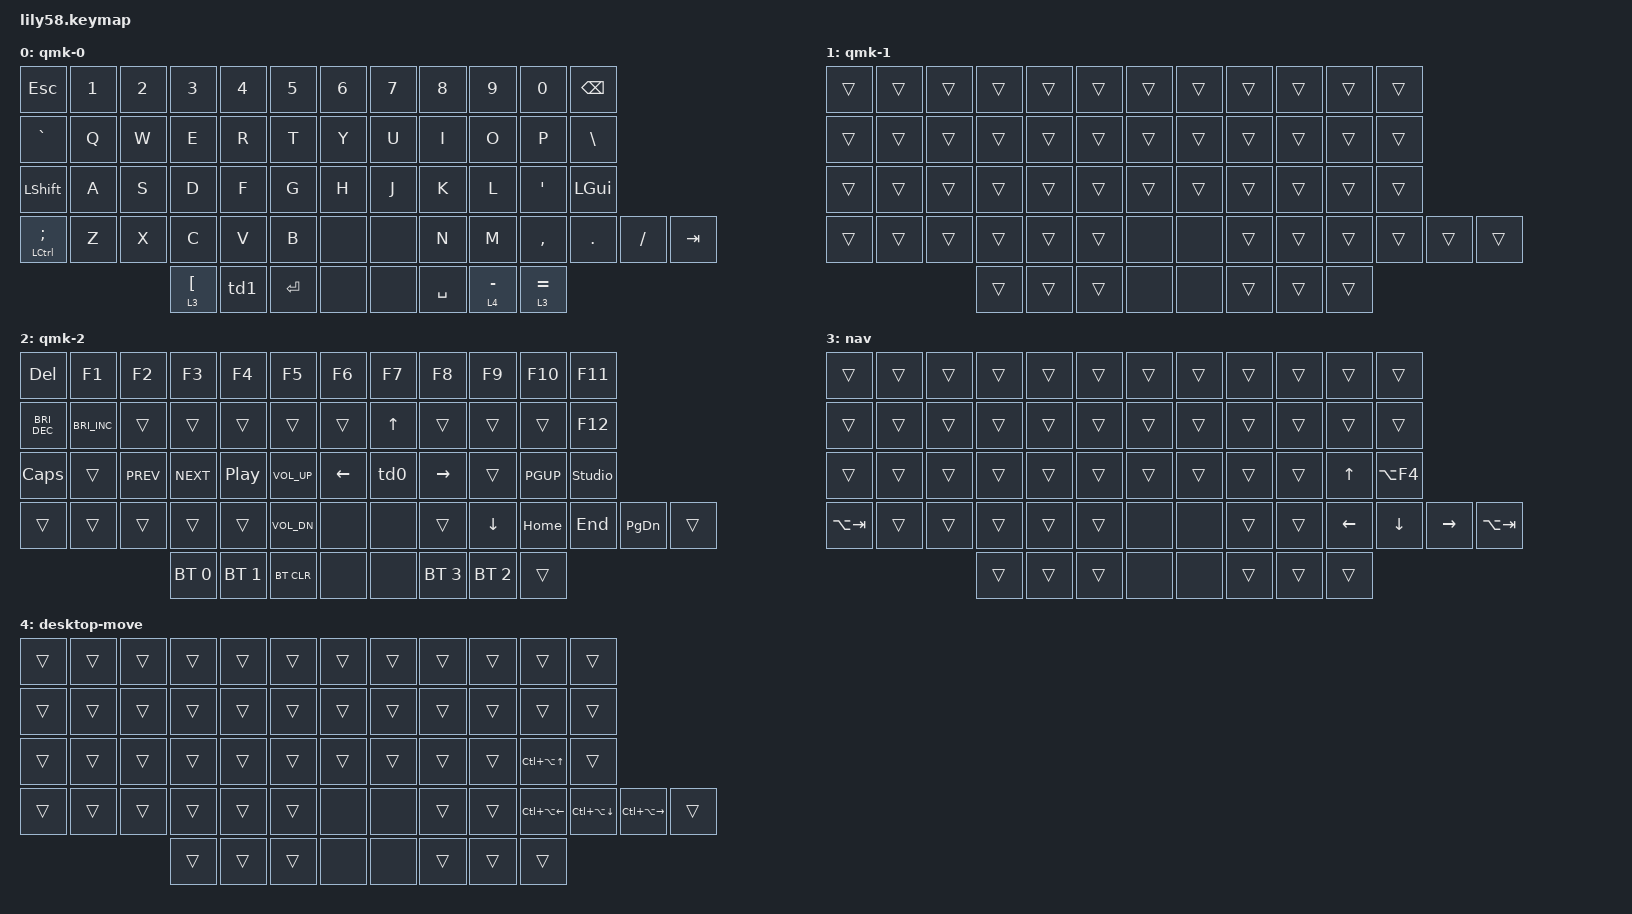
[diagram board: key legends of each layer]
#include <behaviors.dtsi>
#include <dt-bindings/zmk/bt.h>
#include <dt-bindings/zmk/keys.h>
#include <dt-bindings/zmk/pointing.h>

/ {
    behaviors {
        #include "macros.dtsi"

        td0: qmk_td_0 {
            compatible = "zmk,behavior-tap-dance";
            label = "QMK_TD_0";
            #binding-cells = <0>;
            tapping-term-ms = <200>;
            bindings = <&kp PRINTSCREEN>, <&m2>;
        };

        fn_lt: fn_layer_tap {
            compatible = "zmk,behavior-hold-tap";
            label = "FN_LAYER_TAP";
            #binding-cells = <2>;
            flavor = "hold-preferred";
            tapping-term-ms = <200>;
            bindings = <&mo>, <&kp>;
        };

        td1: qmk_td_1 {
            compatible = "zmk,behavior-tap-dance";
            label = "QMK_TD_1";
            #binding-cells = <0>;
            tapping-term-ms = <200>;
            bindings = <&fn_lt 4 RBKT>, <&tog 1>;
        };
    };

    combos {
        compatible = "zmk,combos";

        combo_hj_left {
            timeout-ms = <50>;
            key-positions = <30 31>;
            bindings = <&kp LEFT>;
        };

        combo_ju_up {
            timeout-ms = <50>;
            key-positions = <31 19>;
            bindings = <&kp UP>;
        };

        combo_jk_right {
            timeout-ms = <50>;
            key-positions = <31 32>;
            bindings = <&kp RIGHT>;
        };

        combo_jm_down {
            timeout-ms = <50>;
            key-positions = <31 45>;
            bindings = <&kp DOWN>;
        };

    };

    keymap {
        compatible = "zmk,keymap";

        layer_0 {
            display-name = "qmk-0";
            bindings = <
&kp ESCAPE     &kp N1        &kp N2      &kp N3      &kp N4      &kp N5      &kp N6       &kp N7      &kp N8      &kp N9      &kp N0      &kp BACKSPACE
&kp GRAVE      &kp Q         &kp W       &kp E       &kp R       &kp T       &kp Y        &kp U       &kp I       &kp O       &kp P       &kp BSLH
&kp LSHIFT     &kp A         &kp S       &kp D       &kp F       &kp G       &kp H        &kp J       &kp K       &kp L       &kp SQT     &kp LGUI
&mt LCTRL SEMI &kp Z         &kp X       &kp C       &kp V       &kp B       &none        &none       &kp N       &kp M       &kp COMMA   &kp DOT     &kp FSLH     &kp TAB
                                      &fn_lt 3 LBKT  &td1         &kp ENTER   &none        &none       &kp SPACE   &fn_lt 4 MINUS &fn_lt 3 EQUAL
            >;
        };

        layer_1 {
            display-name = "qmk-1";
            bindings = <
&trans          &trans        &trans      &trans      &trans      &trans      &trans       &trans      &trans      &trans      &trans      &trans
&trans          &trans        &trans      &trans      &trans      &trans      &trans       &trans      &trans      &trans      &trans      &trans
&trans          &trans        &trans      &trans      &trans      &trans      &trans       &trans      &trans      &trans      &trans      &trans
&trans          &trans        &trans      &trans      &trans      &trans      &none        &none       &trans      &trans      &trans      &trans      &trans      &trans
                                       &trans         &trans       &trans      &none        &none       &trans      &trans      &trans
            >;
        };

        layer_2 {
            display-name = "qmk-2";
            bindings = <
&kp DEL         &kp F1        &kp F2      &kp F3      &kp F4      &kp F5      &kp F6       &kp F7      &kp F8      &kp F9      &kp F10     &kp F11
&kp C_BRIGHTNESS_DEC &kp C_BRIGHTNESS_INC &trans      &trans      &trans      &trans      &trans       &kp UP      &trans      &trans      &trans      &kp F12
&kp CAPSLOCK         &trans                &kp C_PREV  &kp C_NEXT  &kp C_PLAY_PAUSE &kp C_VOL_UP &kp LEFT   &td0        &kp RIGHT   &trans      &kp PGUP    &studio_unlock
&trans               &trans                &trans      &trans      &trans      &kp C_VOL_DN &none        &none       &trans      &kp DOWN    &kp HOME    &kp END     &kp PG_DN    &trans
                                       &bt BT_SEL 0   &bt BT_SEL 1 &bt BT_CLR  &none        &none       &bt BT_SEL 3 &bt BT_SEL 2 &trans
            >;
        };

        layer_nav {
            display-name = "nav";
            bindings = <
&trans          &trans        &trans      &trans      &trans      &trans      &trans       &trans      &trans      &trans      &trans      &trans
&trans          &trans        &trans      &trans      &trans      &trans      &trans       &trans      &trans      &trans      &trans      &trans
&trans          &trans        &trans      &trans      &trans      &trans      &trans       &trans      &trans      &trans      &kp UP      &kp LA(F4)
&kp LA(TAB)     &trans        &trans      &trans      &trans      &trans      &none        &none       &trans      &trans      &kp LEFT    &kp DOWN    &kp RIGHT    &kp LA(TAB)
                                       &trans         &trans       &trans      &none        &none       &trans      &trans      &trans
            >;
        };

        layer_desktop {
            display-name = "desktop-move";
            bindings = <
&trans          &trans        &trans      &trans      &trans      &trans      &trans       &trans      &trans      &trans      &trans      &trans
&trans          &trans        &trans      &trans      &trans      &trans      &trans       &trans      &trans      &trans      &trans      &trans
&trans          &trans        &trans      &trans      &trans      &trans      &trans       &trans      &trans      &trans      &kp LC(LA(UP)) &trans
&trans          &trans        &trans      &trans      &trans      &trans      &none        &none       &trans      &trans      &kp LC(LA(LEFT)) &kp LC(LA(DOWN)) &kp LC(LA(RIGHT)) &trans
                                       &trans         &trans       &trans      &none        &none       &trans      &trans      &trans
            >;
        };
    };
};
